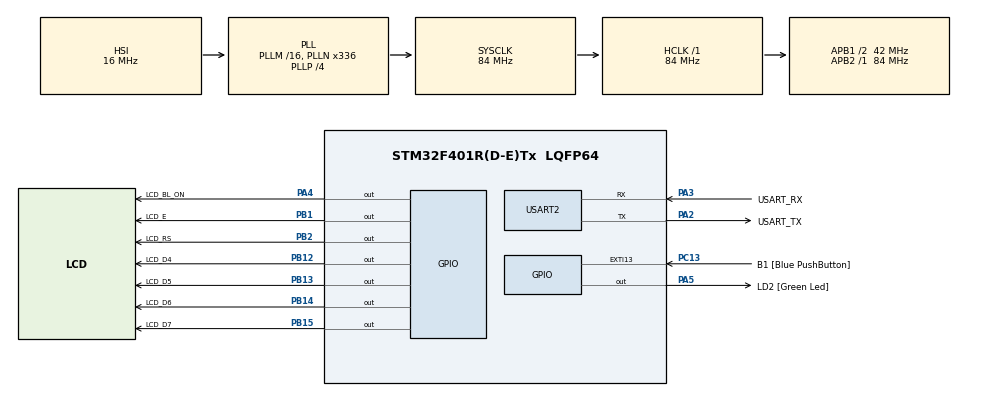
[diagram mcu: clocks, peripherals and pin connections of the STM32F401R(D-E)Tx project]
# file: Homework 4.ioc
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Dma.Request0=USART2_TX
Dma.USART2_TX.0.Direction=DMA_MEMORY_TO_PERIPH
Dma.USART2_TX.0.FIFOMode=DMA_FIFOMODE_DISABLE
Dma.USART2_TX.0.Instance=DMA1_Stream6
Dma.USART2_TX.0.MemDataAlignment=DMA_MDATAALIGN_BYTE
Dma.USART2_TX.0.MemInc=DMA_MINC_ENABLE
Dma.USART2_TX.0.Mode=DMA_NORMAL
Dma.USART2_TX.0.PeriphDataAlignment=DMA_PDATAALIGN_BYTE
Dma.USART2_TX.0.PeriphInc=DMA_PINC_DISABLE
Dma.USART2_TX.0.Priority=DMA_PRIORITY_HIGH
Mcu.Family=STM32F4
Mcu.Name=STM32F401R(D-E)Tx
Mcu.Package=LQFP64
NVIC.DMA1_Stream6_IRQn=true\:0\:0\:false\:false\:true\:false\:true\:true
NVIC.PriorityGroup=NVIC_PRIORITYGROUP_0
NVIC.USART2_IRQn=true\:0\:0\:false\:false\:true\:true\:true\:true
PA13.GPIO_Label=TMS
PA13.Mode=Serial_Wire
PA13.Signal=SYS_JTMS-SWDIO
PA14.GPIO_Label=TCK
PA14.Mode=Serial_Wire
PA14.Signal=SYS_JTCK-SWCLK
PA2.GPIO_Label=USART_TX
PA2.GPIO_Mode=GPIO_MODE_AF_PP
PA2.GPIO_PuPd=GPIO_NOPULL
PA2.GPIO_Speed=GPIO_SPEED_FREQ_LOW
PA2.Mode=Asynchronous
PA2.Signal=USART2_TX
PA3.GPIO_Label=USART_RX
PA3.GPIO_Mode=GPIO_MODE_AF_PP
PA3.GPIO_PuPd=GPIO_NOPULL
PA3.GPIO_Speed=GPIO_SPEED_FREQ_LOW
PA3.Mode=Asynchronous
PA3.Signal=USART2_RX
PA4.GPIO_Label=LCD_BL_ON
PA4.Signal=GPIO_Output
PA5.GPIO_Label=LD2 [Green Led]
PA5.GPIO_Mode=GPIO_MODE_OUTPUT_PP
PA5.GPIO_PuPd=GPIO_NOPULL
PA5.GPIO_Speed=GPIO_SPEED_FREQ_LOW
PA5.Signal=GPIO_Output
PB1.GPIO_Label=LCD_E
PB1.Signal=GPIO_Output
PB12.GPIO_Label=LCD_D4
PB12.Signal=GPIO_Output
PB13.GPIO_Label=LCD_D5
PB13.Signal=GPIO_Output
PB14.GPIO_Label=LCD_D6
PB14.Signal=GPIO_Output
PB15.GPIO_Label=LCD_D7
PB15.Signal=GPIO_Output
PB2.GPIO_Label=LCD_RS
PB2.Signal=GPIO_Output
PB3.GPIO_Label=SWO
PB3.Signal=SYS_JTDO-SWO
PC13-ANTI_TAMP.GPIO_Label=B1 [Blue PushButton]
PC13-ANTI_TAMP.GPIO_ModeDefaultEXTI=GPIO_MODE_IT_FALLING
PC13-ANTI_TAMP.GPIO_PuPd=GPIO_NOPULL
PC13-ANTI_TAMP.Signal=GPXTI13
PC14-OSC32_IN.Mode=LSE-External-Oscillator
PC14-OSC32_IN.Signal=RCC_OSC32_IN
PC15-OSC32_OUT.Mode=LSE-External-Oscillator
PC15-OSC32_OUT.Signal=RCC_OSC32_OUT
PH0\ -\ OSC_IN.Mode=HSE-External-Clock-Source
PH0\ -\ OSC_IN.Signal=RCC_OSC_IN
PH1\ -\ OSC_OUT.Mode=HSE-External-Clock-Source
PH1\ -\ OSC_OUT.Signal=RCC_OSC_OUT
ProjectManager.HeapSize=0x200
ProjectManager.StackSize=0x400
ProjectManager.TargetToolchain=STM32CubeIDE
RCC.48MHZClocksFreq_Value=48000000
RCC.AHBFreq_Value=84000000
RCC.APB1CLKDivider=RCC_HCLK_DIV2
RCC.APB1Freq_Value=42000000
RCC.APB1TimFreq_Value=84000000
RCC.APB2Freq_Value=84000000
RCC.APB2TimFreq_Value=84000000
RCC.CortexFreq_Value=84000000
RCC.HCLKFreq_Value=84000000
RCC.HSE_VALUE=8000000
RCC.HSI_VALUE=16000000
RCC.PLLN=336
RCC.PLLP=RCC_PLLP_DIV4
RCC.PLLQ=7
RCC.SYSCLKFreq_VALUE=84000000
RCC.SYSCLKSource=RCC_SYSCLKSOURCE_PLLCLK
RCC.VCOOutputFreq_Value=336000000
USART2.Parity=PARITY_NONE
USART2.VirtualMode=VM_ASYNC
USART2.WordLength=WORDLENGTH_8B
board=NUCLEO-F401RE

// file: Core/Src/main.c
/* USER CODE BEGIN Header */
/**
  ******************************************************************************
  * @file           : main.c
  * @brief          : Main program body
  ******************************************************************************
  * @attention
  *
  * Copyright (c) 2024 STMicroelectronics.
  * All rights reserved.
  *
  * This software is licensed under terms that can be found in the LICENSE file
  * in the root directory of this software component.
  * If no LICENSE file comes with this software, it is provided AS-IS.
  *
  ******************************************************************************
  */
/* USER CODE END Header */
#include "main.h"

/* USER CODE BEGIN Includes */
#include "PMDB16_LCD.h"
/* USER CODE END Includes */

UART_HandleTypeDef huart2;
DMA_HandleTypeDef hdma_usart2_tx;

void SystemClock_Config(void);
static void MX_GPIO_Init(void);
static void MX_DMA_Init(void);
static void MX_USART2_UART_Init(void);

/* USER CODE BEGIN 0 */

int i;

char* members[] =
{
		"Alessio",
		"Annamaria",
		"Emma",
		"Riccardo",
		"Sofia"
};

int length = sizeof(members)/sizeof(char*);

/* USER CODE END 0 */

int main(void)
{

  /* USER CODE BEGIN 1 */
  i = -1;
  /* USER CODE END 1 */

  /* MCU Configuration--------------------------------------------------------*/

  /* Reset of all peripherals, Initializes the Flash interface and the Systick. */
  HAL_Init();

  /* Configure the system clock */
  SystemClock_Config();

  /* Initialize all configured peripherals */
  MX_GPIO_Init();
  MX_DMA_Init();
  MX_USART2_UART_Init();
  /* USER CODE BEGIN 2 */
  lcd_initialize();
  	lcd_backlight_ON();

  /* USER CODE END 2 */

  /* Infinite loop */
  /* USER CODE BEGIN WHILE */
  while (1)
  {
	  if(i == -1){
		  lcd_println(members[0], 0);
	  }else{
		  lcd_println(members[i%length], 0);
		  lcd_println(members[(i+1)%length], 1);
	  }

	  i = (i+1)%length;
	  HAL_Delay(1000);

    /* USER CODE END WHILE */

  }
}

void SystemClock_Config(void)
{
  RCC_OscInitTypeDef RCC_OscInitStruct = {0};
  RCC_ClkInitTypeDef RCC_ClkInitStruct = {0};

  /** Configure the main internal regulator output voltage
  */
  __HAL_RCC_PWR_CLK_ENABLE();
  __HAL_PWR_VOLTAGESCALING_CONFIG(PWR_REGULATOR_VOLTAGE_SCALE2);

  /** Initializes the RCC Oscillators according to the specified parameters
  * in the RCC_OscInitTypeDef structure.
  */
  RCC_OscInitStruct.OscillatorType = RCC_OSCILLATORTYPE_HSI;
  RCC_OscInitStruct.HSIState = RCC_HSI_ON;
  RCC_OscInitStruct.HSICalibrationValue = RCC_HSICALIBRATION_DEFAULT;
  RCC_OscInitStruct.PLL.PLLState = RCC_PLL_ON;
  RCC_OscInitStruct.PLL.PLLSource = RCC_PLLSOURCE_HSI;
  RCC_OscInitStruct.PLL.PLLM = 16;
  RCC_OscInitStruct.PLL.PLLN = 336;
  RCC_OscInitStruct.PLL.PLLP = RCC_PLLP_DIV4;
  RCC_OscInitStruct.PLL.PLLQ = 7;
  if (HAL_RCC_OscConfig(&RCC_OscInitStruct) != HAL_OK)
  {
    Error_Handler();
  }

  /** Initializes the CPU, AHB and APB buses clocks
  */
  RCC_ClkInitStruct.ClockType = RCC_CLOCKTYPE_HCLK|RCC_CLOCKTYPE_SYSCLK
                              |RCC_CLOCKTYPE_PCLK1|RCC_CLOCKTYPE_PCLK2;
  RCC_ClkInitStruct.SYSCLKSource = RCC_SYSCLKSOURCE_PLLCLK;
  RCC_ClkInitStruct.AHBCLKDivider = RCC_SYSCLK_DIV1;
  RCC_ClkInitStruct.APB1CLKDivider = RCC_HCLK_DIV2;
  RCC_ClkInitStruct.APB2CLKDivider = RCC_HCLK_DIV1;

  if (HAL_RCC_ClockConfig(&RCC_ClkInitStruct, FLASH_LATENCY_2) != HAL_OK)
  {
    Error_Handler();
  }
}

static void MX_USART2_UART_Init(void)
{

  huart2.Instance = USART2;
  huart2.Init.BaudRate = 115200;
  huart2.Init.WordLength = UART_WORDLENGTH_8B;
  huart2.Init.StopBits = UART_STOPBITS_1;
  huart2.Init.Parity = UART_PARITY_NONE;
  huart2.Init.Mode = UART_MODE_TX_RX;
  huart2.Init.HwFlowCtl = UART_HWCONTROL_NONE;
  huart2.Init.OverSampling = UART_OVERSAMPLING_16;
  if (HAL_UART_Init(&huart2) != HAL_OK)
  {
    Error_Handler();
  }

}

static void MX_DMA_Init(void)
{

  /* DMA controller clock enable */
  __HAL_RCC_DMA1_CLK_ENABLE();

  /* DMA interrupt init */
  /* DMA1_Stream6_IRQn interrupt configuration */
  HAL_NVIC_SetPriority(DMA1_Stream6_IRQn, 0, 0);
  HAL_NVIC_EnableIRQ(DMA1_Stream6_IRQn);

}

static void MX_GPIO_Init(void)
{
  GPIO_InitTypeDef GPIO_InitStruct = {0};

  /* GPIO Ports Clock Enable */
  __HAL_RCC_GPIOC_CLK_ENABLE();
  __HAL_RCC_GPIOH_CLK_ENABLE();
  __HAL_RCC_GPIOA_CLK_ENABLE();
  __HAL_RCC_GPIOB_CLK_ENABLE();

  /*Configure GPIO pin Output Level */
  HAL_GPIO_WritePin(GPIOA, LCD_BL_ON_Pin|LD2_Pin, GPIO_PIN_RESET);

  /*Configure GPIO pin Output Level */
  HAL_GPIO_WritePin(GPIOB, LCD_E_Pin|LCD_RS_Pin|LCD_D4_Pin|LCD_D5_Pin
                          |LCD_D6_Pin|LCD_D7_Pin, GPIO_PIN_RESET);

  /*Configure GPIO pin : B1_Pin */
  GPIO_InitStruct.Pin = B1_Pin;
  GPIO_InitStruct.Mode = GPIO_MODE_IT_FALLING;
  GPIO_InitStruct.Pull = GPIO_NOPULL;
  HAL_GPIO_Init(B1_GPIO_Port, &GPIO_InitStruct);

  /*Configure GPIO pins : LCD_BL_ON_Pin LD2_Pin */
  GPIO_InitStruct.Pin = LCD_BL_ON_Pin|LD2_Pin;
  GPIO_InitStruct.Mode = GPIO_MODE_OUTPUT_PP;
  GPIO_InitStruct.Pull = GPIO_NOPULL;
  GPIO_InitStruct.Speed = GPIO_SPEED_FREQ_LOW;
  HAL_GPIO_Init(GPIOA, &GPIO_InitStruct);

  /*Configure GPIO pins : LCD_E_Pin LCD_RS_Pin LCD_D4_Pin LCD_D5_Pin
                           LCD_D6_Pin LCD_D7_Pin */
  GPIO_InitStruct.Pin = LCD_E_Pin|LCD_RS_Pin|LCD_D4_Pin|LCD_D5_Pin
                          |LCD_D6_Pin|LCD_D7_Pin;
  GPIO_InitStruct.Mode = GPIO_MODE_OUTPUT_PP;
  GPIO_InitStruct.Pull = GPIO_NOPULL;
  GPIO_InitStruct.Speed = GPIO_SPEED_FREQ_LOW;
  HAL_GPIO_Init(GPIOB, &GPIO_InitStruct);

}

void Error_Handler(void)
{
  __disable_irq();
  while (1)
  {
  }
}
